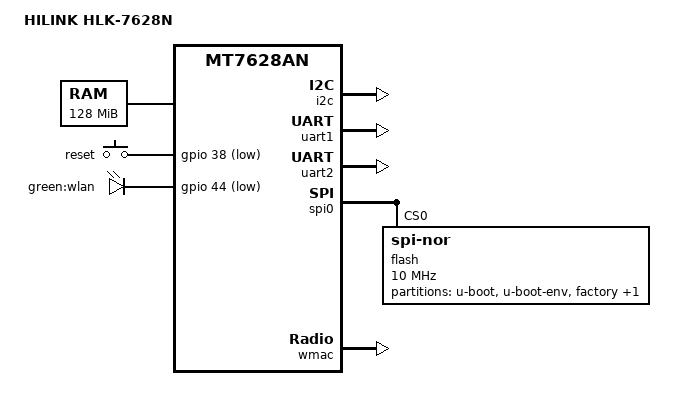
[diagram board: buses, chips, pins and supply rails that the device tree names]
// SPDX-License-Identifier: GPL-2.0-or-later OR MIT
/*
 * HILINK HLK-7628N (MT7628NN, 32MB flash + 128MB RAM) —— MMDVM 热点定制
 *
 * 与上游 DTS 的差异：
 *   - 显式声明 128MB 内存，避免只识别 64MB
 *   - 释放 I2C 引脚（GPIO4/5）供 OLED 使用，并启用 SoC I2C 控制器
 *   - 释放 I2S 引脚（GPIO0~3）为普通 GPIO，留给模块 17~20 脚
 *   - 增加 serial1 别名，调制解调器固定为 /dev/ttyS1
 *   - 内核 console 从 UART0(ttyS0) 移到 UART2(ttyS2)，UART0 完全让给
 *     Air780EX 4G 模块的 AT 口（115200）
 */

#include "mt7628an.dtsi"

#include <dt-bindings/gpio/gpio.h>
#include <dt-bindings/input/input.h>

/ {
	compatible = "hilink,hlk-7628n", "mediatek,mt7628an-soc";
	model = "HILINK HLK-7628N";

	aliases {
		serial1 = &uart1;
	};

	chosen {
		/* 控制台改到未引出/未使用的 UART2，UART0 留给 4G 模块 */
		bootargs = "console=ttyS2,115200 rootfstype=squashfs,jffs2";
	};

	memory@0 {
		device_type = "memory";
		reg = <0x0 0x8000000>;
	};

	keys {
		compatible = "gpio-keys";

		reset {
			label = "reset";
			gpios = <&gpio 38 GPIO_ACTIVE_LOW>;
			linux,code = <KEY_RESTART>;
		};
	};

	leds {
		compatible = "gpio-leds";

		wlan {
			label = "green:wlan";
			gpios = <&gpio 44 GPIO_ACTIVE_LOW>;
		};
	};
};

&state_default {
	/* 上游这里把 i2c 引脚设为 gpio，这里改为释放 i2s 组。
	   MT7628 的 i2s 组包含 GPIO0/1/2/3 四个引脚，一次设置即四个脚全部
	   作为普通 GPIO；i2c 引脚则交给 i2c 控制器（OLED 使用） */
	gpio {
		groups = "i2s";
		function = "gpio";
	};
};

/* I2S 控制器保持关闭，确保不会把 GPIO0~3 重新复用为音频引脚 */
&i2s {
	status = "disabled";
};

&i2c {
	status = "okay";
};

&uart1 {
	status = "okay";
};

&uart2 {
	status = "okay";
};

&spi0 {
	status = "okay";

	flash@0 {
		compatible = "jedec,spi-nor";
		reg = <0>;
		spi-max-frequency = <10000000>;
		broken-flash-reset;

		partitions {
			compatible = "fixed-partitions";
			#address-cells = <1>;
			#size-cells = <1>;

			partition@0 {
				label = "u-boot";
				reg = <0x0 0x30000>;
				read-only;
			};

			partition@30000 {
				label = "u-boot-env";
				reg = <0x30000 0x10000>;
				read-only;
			};

			factory: partition@40000 {
				label = "factory";
				reg = <0x40000 0x10000>;
				read-only;
			};

			partition@50000 {
				compatible = "denx,uimage";
				label = "firmware";
				reg = <0x50000 0x1fb0000>;
			};
		};
	};
};

&ethernet {
	nvmem-cells = <&macaddr_factory_28>;
	nvmem-cell-names = "mac-address";
};

&wmac {
	status = "okay";

	mediatek,mtd-eeprom = <&factory 0x0>;
};

&factory {
	compatible = "nvmem-cells";
	#address-cells = <1>;
	#size-cells = <1>;

	macaddr_factory_28: macaddr@28 {
		reg = <0x28 0x6>;
	};
};
